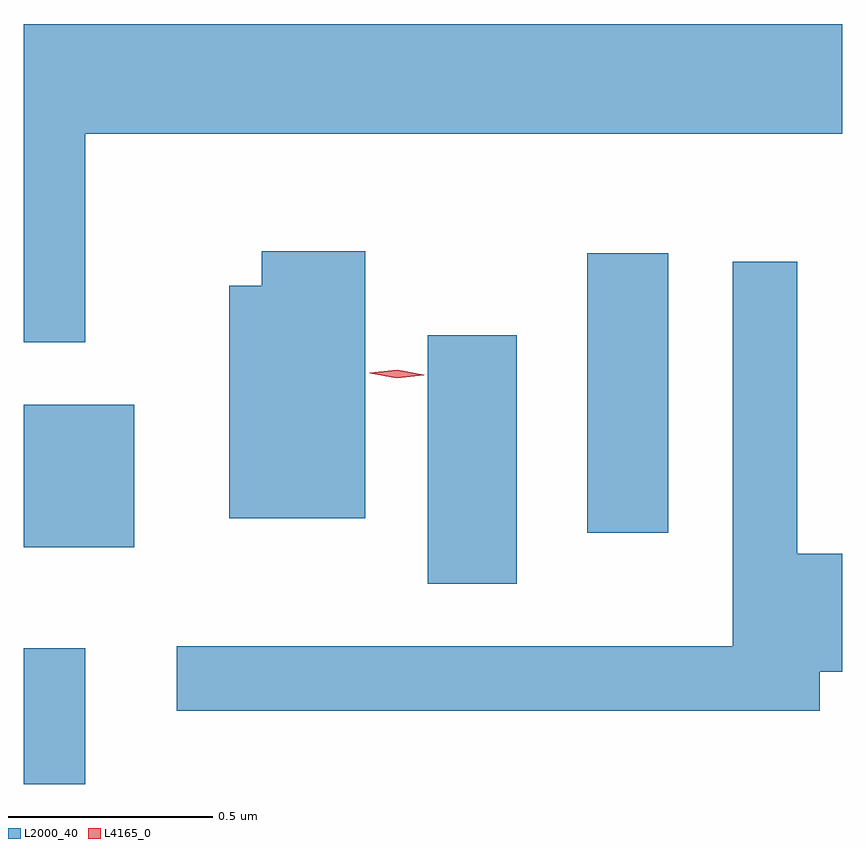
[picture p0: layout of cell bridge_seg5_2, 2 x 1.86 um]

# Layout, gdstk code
import gdstk
lib = gdstk.Library(unit=1e-6, precision=1e-09)
def R(c, l, rs):  # rectangles x0, y0, x1, y1
    for r in rs: c.add(gdstk.rectangle(r[:2], r[2:], *l))
def P(c, l, *ps):  # polygons
    for p in ps: c.add(gdstk.Polygon(p, *l))
L2000_40 = (2000, 40)
L4165_0 = (4165, 0)

bridge_seg5_2 = lib.new_cell('bridge_seg5_2')
R(bridge_seg5_2, L2000_40, [(1527.789,1506.267,1527.939,1506.599), (1528.776,1506.756,1528.994,1507.364), (1527.789,1506.846,1528.059,1507.194), (1529.166,1506.881,1529.364,1507.564)])
P(bridge_seg5_2, L2000_40, [(1527.939,1507.856),(1529.789,1507.856),(1529.789,1508.124),(1527.789,1508.124),(1527.789,1507.346),(1527.939,1507.346)],
  [(1528.624,1507.569),(1528.371,1507.569),(1528.371,1507.484),(1528.291,1507.484),(1528.291,1506.916),(1528.624,1506.916)],
  [(1529.734,1506.541),(1529.789,1506.541),(1529.789,1506.829),(1529.679,1506.829),(1529.679,1507.543),(1529.521,1507.543),(1529.521,1506.604),(1528.163,1506.604),(1528.163,1506.446),(1529.734,1506.446)])
P(bridge_seg5_2, L4165_0, [(1528.701,1507.259),(1528.635,1507.271),(1528.634,1507.271),(1528.635,1507.272),(1528.702,1507.279),(1528.767,1507.267),(1528.768,1507.267),(1528.767,1507.266)])

lib.write_gds('bridge_seg5_2.gds')
